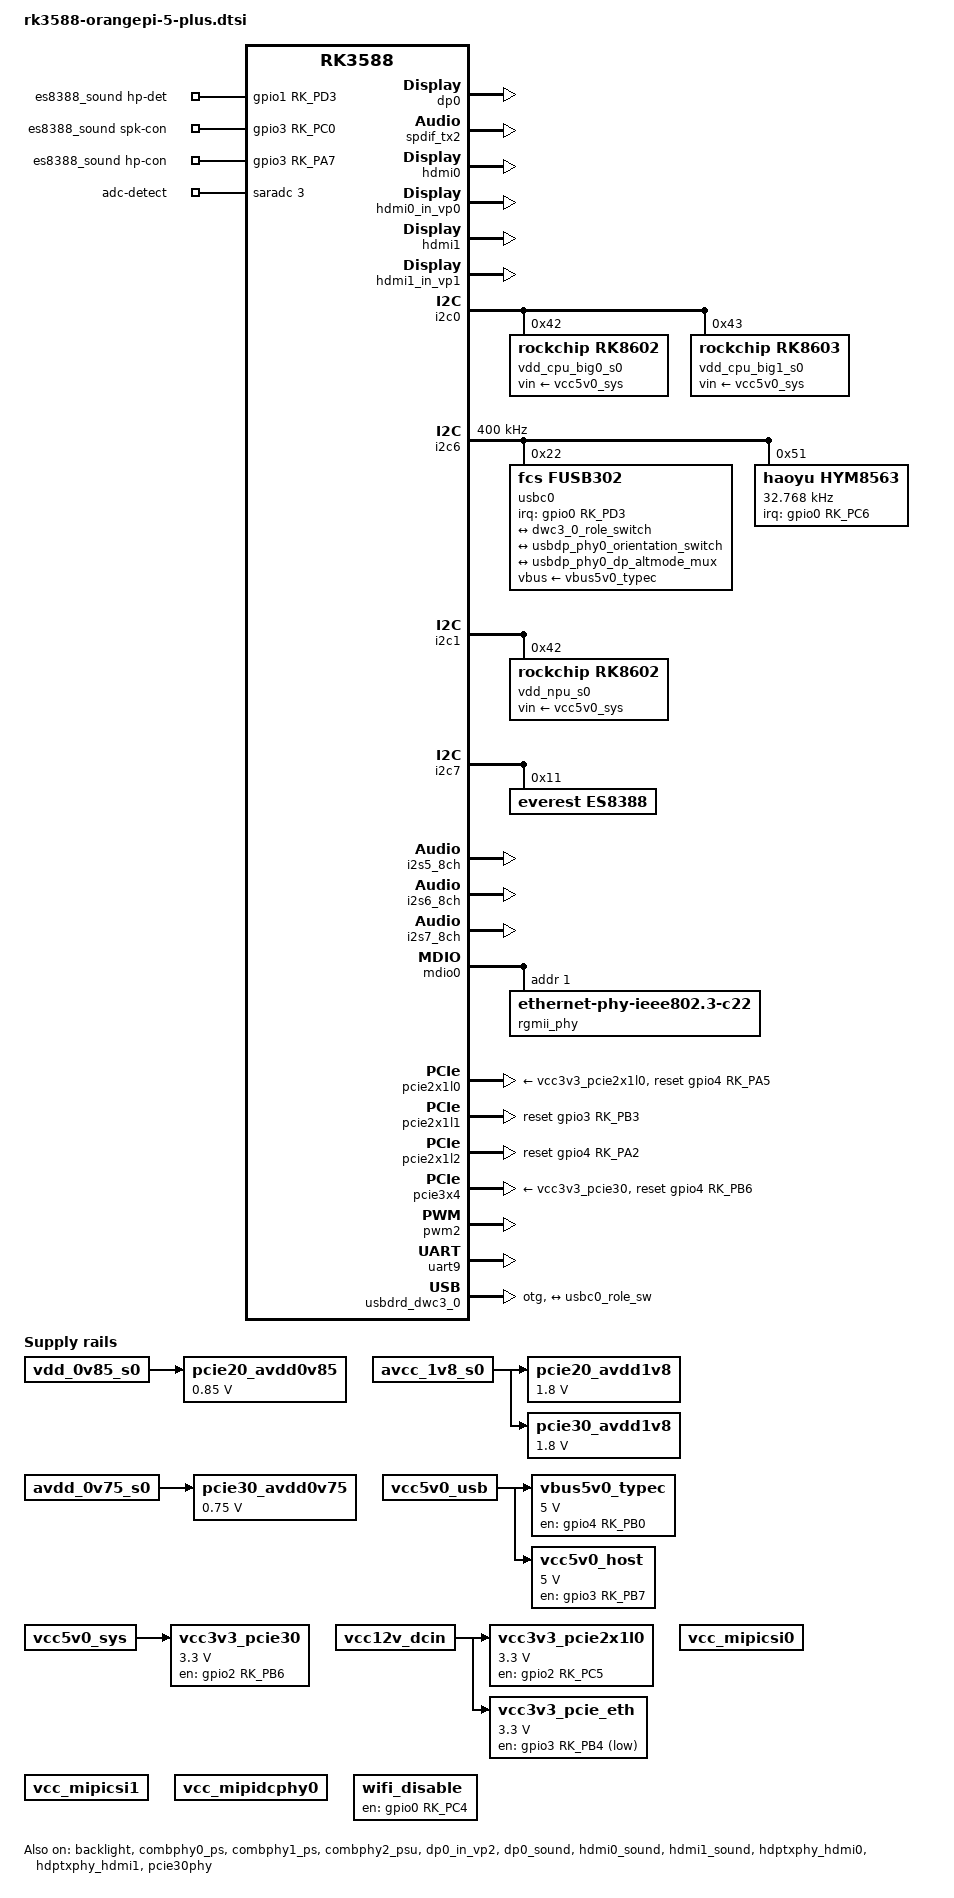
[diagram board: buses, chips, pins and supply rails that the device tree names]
// SPDX-License-Identifier: (GPL-2.0+ OR MIT)
/*
 * Copyright (c) 2021 Rockchip Electronics Co., Ltd.
 *
 */

#include "dt-bindings/usb/pd.h"
#include "rk3588.dtsi"
#include "rk3588-orangepi.dtsi"
#include "rk3588-rk806-single.dtsi"

/ {
	/* If hdmirx node is disabled, delete the reserved-memory node here. */
	reserved-memory {
		#address-cells = <2>;
		#size-cells = <2>;
		ranges;

		/* Reserve 128MB memory for hdmirx-controller@fdee0000 */
		cma {
			compatible = "shared-dma-pool";
			reusable;
			reg = <0x0 (256 * 0x100000) 0x0 (256 * 0x100000)>;
			linux,cma-default;
		};
	};

	hdmiin_dc: hdmiin-dc {
		compatible = "rockchip,dummy-codec";
		#sound-dai-cells = <0>;
	};

	es8388_sound: es8388-sound {
		status = "okay";
		compatible = "rockchip,multicodecs-card";
		rockchip,card-name = "rockchip,es8388";
		hp-det-gpio = <&gpio1 RK_PD3 GPIO_ACTIVE_HIGH>;
		io-channels = <&saradc 3>;
		io-channel-names = "adc-detect";
		keyup-threshold-microvolt = <1800000>;
		poll-interval = <100>;
		spk-con-gpio = <&gpio3 RK_PC0 GPIO_ACTIVE_HIGH>;
		hp-con-gpio = <&gpio3 RK_PA7 GPIO_ACTIVE_HIGH>;
		rockchip,format = "i2s";
		rockchip,mclk-fs = <256>;
		rockchip,cpu = <&i2s0_8ch>;
		rockchip,codec = <&es8388>;
		rockchip,audio-routing =
			"Headphone", "LOUT1",
			"Headphone", "ROUT1",
			"Speaker", "LOUT2",
			"Speaker", "ROUT2",
			"Headphone", "Headphone Power",
			"Headphone", "Headphone Power",
			"Speaker", "Speaker Power",
			"Speaker", "Speaker Power",
			"LINPUT1", "Main Mic",
			"LINPUT2", "Main Mic",
			"RINPUT1", "Headset Mic",
			"RINPUT2", "Headset Mic";
		pinctrl-names = "default";
		pinctrl-0 = <&hp_det>;
		play-pause-key {
			label = "playpause";
			linux,code = <KEY_PLAYPAUSE>;
			press-threshold-microvolt = <2000>;
		};
	};

	hdmiin-sound {
		compatible = "simple-audio-card";
		simple-audio-card,format = "i2s";
		simple-audio-card,name = "rockchip,hdmiin";
		simple-audio-card,bitclock-master = <&dailink0_master>;
		simple-audio-card,frame-master = <&dailink0_master>;
		status = "okay";
		simple-audio-card,cpu {
			sound-dai = <&i2s7_8ch>;
		};
		dailink0_master: simple-audio-card,codec {
			sound-dai = <&hdmiin_dc>;
		};
	};

	pcie20_avdd0v85: pcie20-avdd0v85 {
		compatible = "regulator-fixed";
		regulator-name = "pcie20_avdd0v85";
		regulator-boot-on;
		regulator-always-on;
		regulator-min-microvolt = <850000>;
		regulator-max-microvolt = <850000>;
		vin-supply = <&vdd_0v85_s0>;
	};

	pcie20_avdd1v8: pcie20-avdd1v8 {
		compatible = "regulator-fixed";
		regulator-name = "pcie20_avdd1v8";
		regulator-boot-on;
		regulator-always-on;
		regulator-min-microvolt = <1800000>;
		regulator-max-microvolt = <1800000>;
		vin-supply = <&avcc_1v8_s0>;
	};

	pcie30_avdd0v75: pcie30-avdd0v75 {
		compatible = "regulator-fixed";
		regulator-name = "pcie30_avdd0v75";
		regulator-boot-on;
		regulator-always-on;
		regulator-min-microvolt = <750000>;
		regulator-max-microvolt = <750000>;
		vin-supply = <&avdd_0v75_s0>;
	};

	pcie30_avdd1v8: pcie30-avdd1v8 {
		compatible = "regulator-fixed";
		regulator-name = "pcie30_avdd1v8";
		regulator-boot-on;
		regulator-always-on;
		regulator-min-microvolt = <1800000>;
		regulator-max-microvolt = <1800000>;
		vin-supply = <&avcc_1v8_s0>;
	};

	rk_headset: rk-headset {
		status = "disabled";
		compatible = "rockchip_headset";
		headset_gpio = <&gpio1 RK_PD3 GPIO_ACTIVE_HIGH>;
		pinctrl-names = "default";
		pinctrl-0 = <&hp_det>;
		io-channels = <&saradc 3>;
	};

	vbus5v0_typec: vbus5v0-typec {
		compatible = "regulator-fixed";
		regulator-name = "vbus5v0_typec";
		regulator-min-microvolt = <5000000>;
		regulator-max-microvolt = <5000000>;
		enable-active-high;
		gpio = <&gpio4 RK_PB0 GPIO_ACTIVE_HIGH>;
		vin-supply = <&vcc5v0_usb>;
		pinctrl-names = "default";
		pinctrl-0 = <&typec5v_pwren>;
	};

	vcc3v3_pcie30: vcc3v3-pcie30 {
		compatible = "regulator-fixed";
		regulator-name = "vcc3v3_pcie30";
		regulator-min-microvolt = <3300000>;
		regulator-max-microvolt = <3300000>;
		enable-active-high;
		gpios = <&gpio2 RK_PB6 GPIO_ACTIVE_HIGH>;
		startup-delay-us = <5000>;
		vin-supply = <&vcc5v0_sys>;
	};

	vcc5v0_host: vcc5v0-host {
		compatible = "regulator-fixed";
		regulator-name = "vcc5v0_host";
		regulator-boot-on;
		regulator-always-on;
		regulator-min-microvolt = <5000000>;
		regulator-max-microvolt = <5000000>;
		enable-active-high;
		gpio = <&gpio3 RK_PB7 GPIO_ACTIVE_HIGH>;
		vin-supply = <&vcc5v0_usb>;
		pinctrl-names = "default";
		pinctrl-0 = <&vcc5v0_host_en>;
	};

	vcc3v3_pcie2x1l0: vcc3v3-pcie2x1l0 {
		compatible = "regulator-fixed";
		regulator-name = "vcc3v3_pcie2x1l0";
		regulator-min-microvolt = <3300000>;
		regulator-max-microvolt = <3300000>;
		enable-active-high;
		gpios = <&gpio2 RK_PC5 GPIO_ACTIVE_HIGH>;
		startup-delay-us = <50000>;
		vin-supply = <&vcc12v_dcin>;
	};

	vcc3v3_pcie_eth: vcc3v3-pcie-eth {
		compatible = "regulator-fixed";
		regulator-name = "vcc3v3_pcie_eth";
		regulator-min-microvolt = <3300000>;
		regulator-max-microvolt = <3300000>;
		regulator-boot-on;
		regulator-always-on;
		enable-active-low;
		gpios = <&gpio3 RK_PB4 GPIO_ACTIVE_LOW>;
		startup-delay-us = <50000>;
		vin-supply = <&vcc12v_dcin>;
	};

	vcc_mipicsi0: vcc-mipicsi0-regulator {
		compatible = "regulator-fixed";
		regulator-name = "vcc_mipicsi0";
		enable-active-high;
	};

	vcc_mipicsi1: vcc-mipicsi1-regulator {
		compatible = "regulator-fixed";
		regulator-name = "vcc_mipicsi1";
		enable-active-high;
	};

	vcc_mipidcphy0: vcc-mipidcphy0-regulator {
		compatible = "regulator-fixed";
		regulator-name = "vcc_mipicsi1";
		enable-active-high;
	};

	wireless_bluetooth: wireless-bluetooth {
		compatible = "bluetooth-platdata";
		clocks = <&hym8563>;
		clock-names = "ext_clock";
		uart_rts_gpios = <&gpio4 RK_PC4 GPIO_ACTIVE_LOW>;
		pinctrl-names = "default", "rts_gpio";
		pinctrl-0 = <&uart9m0_rtsn>, <&bt_reset_gpio>, <&bt_wake_gpio>, <&bt_irq_gpio>;
		pinctrl-1 = <&uart9_gpios>;
		BT,reset_gpio    = <&gpio0 RK_PC5 GPIO_ACTIVE_HIGH>;
		BT,wake_gpio     = <&gpio4 RK_PC6 GPIO_ACTIVE_HIGH>;
		BT,wake_host_irq = <&gpio0 RK_PA0 GPIO_ACTIVE_HIGH>;
		status = "disabled";
	};

	wireless_wlan: wireless-wlan {
		compatible = "wlan-platdata";
		wifi_chip_type = "ap6275p";
		pinctrl-names = "default";
		pinctrl-0 = <&wifi_host_wake_irq>;
		WIFI,host_wake_irq = <&gpio0 RK_PB0 GPIO_ACTIVE_HIGH>;
		status = "disabled";
	};

	wifi_disable: wifi-diable-gpio-regulator {
		compatible = "regulator-fixed";
		regulator-name = "wifi_disable";
		enable-active-high;
		gpio = <&gpio0 RK_PC4 GPIO_ACTIVE_HIGH>;
		regulator-boot-on;
		regulator-always-on;
	};
};

&backlight {
	pwms = <&pwm2 0 25000 0>;
	status = "okay";
};

&can2 {
	status = "disabled";
};

&combphy0_ps {
	status = "okay";
};

&combphy1_ps {
	status = "okay";
};

&combphy2_psu {
	status = "okay";
};

&dp0 {
	status = "okay";
};

&dp0_in_vp0 {
	status = "disabled";
};

&dp0_in_vp1 {
	status = "disabled";
};

&dp0_in_vp2 {
	status = "okay";
};

&dp0_sound{
        status = "okay";
};

&spdif_tx2{
	status = "okay";
};

/*
 * mipi_dcphy0 needs to be enabled
 * when dsi0 is enabled
 */
&dsi0 {
	status = "disabled";
};

&dsi0_in_vp2 {
	status = "disabled";
};

&dsi0_in_vp3 {
	status = "disabled";
};

&dsi0_panel {
	status = "disabled";
};

/*
 * mipi_dcphy1 needs to be enabled
 * when dsi1 is enabled
 */
&dsi1 {
	status = "disabled";
	pinctrl-names = "default";
	pinctrl-0 = <&mipi_te1>;
};

&dsi1_in_vp2 {
	status = "disabled";
};

&dsi1_in_vp3 {
	status = "disabled";
};

&dsi1_panel {
	status = "disabled";
};

&gmac0 {
	status = "disabled";
};

&hdmi0 {
	status = "okay";
	enable-gpios = <&gpio4 RK_PB1 GPIO_ACTIVE_HIGH>;
	cec-enable = "true";
};

&hdmi0_in_vp0 {
	status = "okay";
};

&hdmi0_in_vp1 {
	status = "disabled";
};

&hdmi0_in_vp2 {
	status = "disabled";
};

&hdmi0_sound {
	status = "okay";
};

&hdmi1 {
	status = "okay";
	enable-gpios = <&gpio4 RK_PB2 GPIO_ACTIVE_HIGH>;
	cec-enable = "true";
};

&hdmi1_in_vp0 {
	status = "disabled";
};

&hdmi1_in_vp1 {
	status = "okay";
};

&hdmi1_in_vp2 {
	status = "disabled";
};

&hdmi1_sound {
	status = "okay";
};

/* Should work with at least 128MB cma reserved above. */
&hdmirx_ctrler {
	status = "disabled";

	/* Effective level used to trigger HPD: 0-low, 1-high */
	hpd-trigger-level = <1>;
	hdmirx-det-gpios = <&gpio1 RK_PC6 GPIO_ACTIVE_LOW>;

	pinctrl-names = "default";
	pinctrl-0 = <&hdmim1_rx_cec &hdmim1_rx_hpdin &hdmim1_rx_scl &hdmim1_rx_sda &hdmirx_det>;
};

&hdptxphy_hdmi0 {
	status = "okay";
};

&hdptxphy_hdmi1 {
	status = "okay";
};

&i2c0 {
	status = "okay";
	pinctrl-names = "default";
	pinctrl-0 = <&i2c0m2_xfer>;

	vdd_cpu_big0_s0: vdd_cpu_big0_mem_s0: rk8602@42 {
		compatible = "rockchip,rk8602";
		reg = <0x42>;
		vin-supply = <&vcc5v0_sys>;
		regulator-compatible = "rk860x-reg";
		regulator-name = "vdd_cpu_big0_s0";
		regulator-min-microvolt = <550000>;
		regulator-max-microvolt = <1050000>;
		regulator-ramp-delay = <2300>;
		rockchip,suspend-voltage-selector = <1>;
		regulator-boot-on;
		regulator-always-on;
		regulator-state-mem {
			regulator-off-in-suspend;
		};
	};

	vdd_cpu_big1_s0: vdd_cpu_big1_mem_s0: rk8603@43 {
		compatible = "rockchip,rk8603";
		reg = <0x43>;
		vin-supply = <&vcc5v0_sys>;
		regulator-compatible = "rk860x-reg";
		regulator-name = "vdd_cpu_big1_s0";
		regulator-min-microvolt = <550000>;
		regulator-max-microvolt = <1050000>;
		regulator-ramp-delay = <2300>;
		rockchip,suspend-voltage-selector = <1>;
		regulator-boot-on;
		regulator-always-on;
		regulator-state-mem {
			regulator-off-in-suspend;
		};
	};
};

&i2c6 {
	status = "okay";
	clock-frequency = <400000>;
	pinctrl-names = "default";
	pinctrl-0 = <&i2c6m0_xfer>;

	usbc0: fusb302@22 {
		compatible = "fcs,fusb302";
		reg = <0x22>;
		interrupt-parent = <&gpio0>;
		interrupts = <RK_PD3 IRQ_TYPE_LEVEL_LOW>;
		pinctrl-names = "default";
		pinctrl-0 = <&usbc0_int>;
		vbus-supply = <&vbus5v0_typec>;
		status = "okay";

		ports {
			#address-cells = <1>;
			#size-cells = <0>;

			port@0 {
				reg = <0>;
				usbc0_role_sw: endpoint@0 {
					remote-endpoint = <&dwc3_0_role_switch>;
				};
			};
		};

		usb_con: connector {
			compatible = "usb-c-connector";
			label = "USB-C";
			data-role = "dual";
			power-role = "dual";
			try-power-role = "sink";
			op-sink-microwatt = <1000000>;
			sink-pdos =
				<PDO_FIXED(5000, 1000, PDO_FIXED_USB_COMM)>;
			source-pdos =
				<PDO_FIXED(5000, 3000, PDO_FIXED_USB_COMM)>;

			altmodes {
				#address-cells = <1>;
				#size-cells = <0>;

				altmode@0 {
					reg = <0>;
					svid = <0xff01>;
					vdo = <0xffffffff>;
				};
			};

			ports {
				#address-cells = <1>;
				#size-cells = <0>;

				port@0 {
					reg = <0>;
					usbc0_orien_sw: endpoint {
						remote-endpoint = <&usbdp_phy0_orientation_switch>;
					};
				};

				port@1 {
					reg = <1>;
					dp_altmode_mux: endpoint {
						remote-endpoint = <&usbdp_phy0_dp_altmode_mux>;
					};
				};
			};
		};
	};

	hym8563: hym8563@51 {
		compatible = "haoyu,hym8563";
		reg = <0x51>;
		#clock-cells = <0>;
		clock-frequency = <32768>;
		clock-output-names = "hym8563";
		pinctrl-names = "default";
		pinctrl-0 = <&hym8563_int>;
		interrupt-parent = <&gpio0>;
		interrupts = <RK_PC6 IRQ_TYPE_LEVEL_LOW>;
		status = "okay";
	};

};

&i2c1 {
	status = "okay";
	pinctrl-names = "default";
	pinctrl-0 = <&i2c1m2_xfer>;

	vdd_npu_s0: vdd_npu_mem_s0: rk8602@42 {
		compatible = "rockchip,rk8602";
		reg = <0x42>;
		vin-supply = <&vcc5v0_sys>;
		regulator-compatible = "rk860x-reg";
		regulator-name = "vdd_npu_s0";
		regulator-min-microvolt = <550000>;
		regulator-max-microvolt = <950000>;
		regulator-ramp-delay = <2300>;
		rockchip,suspend-voltage-selector = <1>;
		regulator-boot-on;
		regulator-always-on;
		regulator-state-mem {
			regulator-off-in-suspend;
		};
	};
};

&i2c7 {
	status = "okay";
	es8388: es8388@11 {
		status = "okay";
		#sound-dai-cells = <0>;
		compatible = "everest,es8388", "everest,es8323";
		reg = <0x11>;
		clocks = <&cru I2S0_8CH_MCLKOUT>;
		clock-names = "mclk";
		assigned-clocks = <&cru I2S0_8CH_MCLKOUT>;
		assigned-clock-rates = <12288000>;
		pinctrl-names = "default";
		pinctrl-0 = <&i2s0_mclk>;
	};
};

&i2s5_8ch {
	status = "okay";
};

&i2s6_8ch {
	status = "okay";
};

&i2s7_8ch {
	status = "okay";
};

&mdio0 {
	rgmii_phy: phy@1 {
		compatible = "ethernet-phy-ieee802.3-c22";
		reg = <0x1>;
	};
};

&mipi_dcphy0 {
	status = "disabled";
};

&mipi_dcphy1 {
	status = "disabled";
};

//phy1
&pcie2x1l0 {
	reset-gpios = <&gpio4 RK_PA5 GPIO_ACTIVE_HIGH>;
	vpcie3v3-supply = <&vcc3v3_pcie2x1l0>;
	rockchip,skip-scan-in-resume;
	status = "okay";
};

//phy2
&pcie2x1l1 {
	reset-gpios = <&gpio3 RK_PB3 GPIO_ACTIVE_HIGH>;
	status = "okay";
};

//phy0
&pcie2x1l2 {
	reset-gpios = <&gpio4 RK_PA2 GPIO_ACTIVE_HIGH>;
	status = "okay";
};

&pcie30phy {
	rockchip,pcie30-phymode = <PHY_MODE_PCIE_AGGREGATION>;
	status = "okay";
};

&pcie3x4 {
	reset-gpios = <&gpio4 RK_PB6 GPIO_ACTIVE_HIGH>;
	vpcie3v3-supply = <&vcc3v3_pcie30>;
	status = "okay";
};

&pinctrl {
	hdmi {
		hdmirx_det: hdmirx-det {
			rockchip,pins = <1 RK_PC6 RK_FUNC_GPIO &pcfg_pull_up>;
		};
	};

	headphone {
		hp_det: hp-det {
			rockchip,pins = <1 RK_PD3 RK_FUNC_GPIO &pcfg_pull_none>;
		};
	};

	hym8563 {
		hym8563_int: hym8563-int {
			rockchip,pins = <0 RK_PC6 RK_FUNC_GPIO &pcfg_pull_up>;
		};
	};

	lcd {
		lcd_rst_gpio: lcd-rst-gpio {
			rockchip,pins = <2 RK_PC1 RK_FUNC_GPIO &pcfg_pull_none>;
		};
	};

	usb {
		vcc5v0_host_en: vcc5v0-host-en {
			rockchip,pins = <3 RK_PB7 RK_FUNC_GPIO &pcfg_pull_none>;
		};
	};

	usb-typec {
		usbc0_int: usbc0-int {
			rockchip,pins = <0 RK_PD3 RK_FUNC_GPIO &pcfg_pull_up>;
		};

		typec5v_pwren: typec5v-pwren {
			rockchip,pins = <4 RK_PB0 RK_FUNC_GPIO &pcfg_pull_none>;
		};
	};

	wireless-bluetooth {
		uart9_gpios: uart9-gpios {
			rockchip,pins = <4 RK_PC4 RK_FUNC_GPIO &pcfg_pull_none>;
		};

		bt_reset_gpio: bt-reset-gpio {
			rockchip,pins = <0 RK_PC5 RK_FUNC_GPIO &pcfg_pull_none>;
		};

		bt_wake_gpio: bt-wake-gpio {
			rockchip,pins = <4 RK_PC6 RK_FUNC_GPIO &pcfg_pull_none>;
		};

		bt_irq_gpio: bt-irq-gpio {
			rockchip,pins = <0 RK_PA0 RK_FUNC_GPIO &pcfg_pull_down>;
		};
	};

	wireless-wlan {
		wifi_host_wake_irq: wifi-host-wake-irq {
			rockchip,pins = <0 RK_PB0 RK_FUNC_GPIO &pcfg_pull_down>;
		};
	};

	sdmmc {
		sdmmc_pwr: sdmmc_pwr {
			rockchip,pins = <3 RK_PD5 RK_FUNC_GPIO &pcfg_pull_down>;
		};
	};
};

&pwm2 {
	pinctrl-names = "active";
	pinctrl-0 = <&pwm2m2_pins>;
	status = "okay";
};

&sata0 {
	status = "disabled";
};

&u2phy1_otg {
	phy-supply = <&vcc5v0_host>;
};

&u2phy2_host {
	phy-supply = <&vcc5v0_host>;
};

&u2phy3_host {
	phy-supply = <&vcc5v0_host>;
};

&uart9 {
	status = "okay";
	pinctrl-names = "default";
	pinctrl-0 = <&uart9m0_xfer &uart9m0_ctsn>;
};

&usbdp_phy0 {
	orientation-switch;
	svid = <0xff01>;
	sbu1-dc-gpios = <&gpio4 RK_PA6 GPIO_ACTIVE_HIGH>;
	sbu2-dc-gpios = <&gpio4 RK_PA7 GPIO_ACTIVE_HIGH>;

	port {
		#address-cells = <1>;
		#size-cells = <0>;
		usbdp_phy0_orientation_switch: endpoint@0 {
			reg = <0>;
			remote-endpoint = <&usbc0_orien_sw>;
		};

		usbdp_phy0_dp_altmode_mux: endpoint@1 {
			reg = <1>;
			remote-endpoint = <&dp_altmode_mux>;
		};
	};
};

&usbdp_phy1 {
	rockchip,dp-lane-mux = <2 3>;
};

&usbdrd_dwc3_0 {
	status = "okay";
	dr_mode = "otg";
	usb-role-switch;
	port {
		#address-cells = <1>;
		#size-cells = <0>;
		dwc3_0_role_switch: endpoint@0 {
			reg = <0>;
			remote-endpoint = <&usbc0_role_sw>;
		};
	};
};

&usbhost3_0 {
	status = "disabled";
};

&usbhost_dwc3_0 {
	status = "disabled";
};
